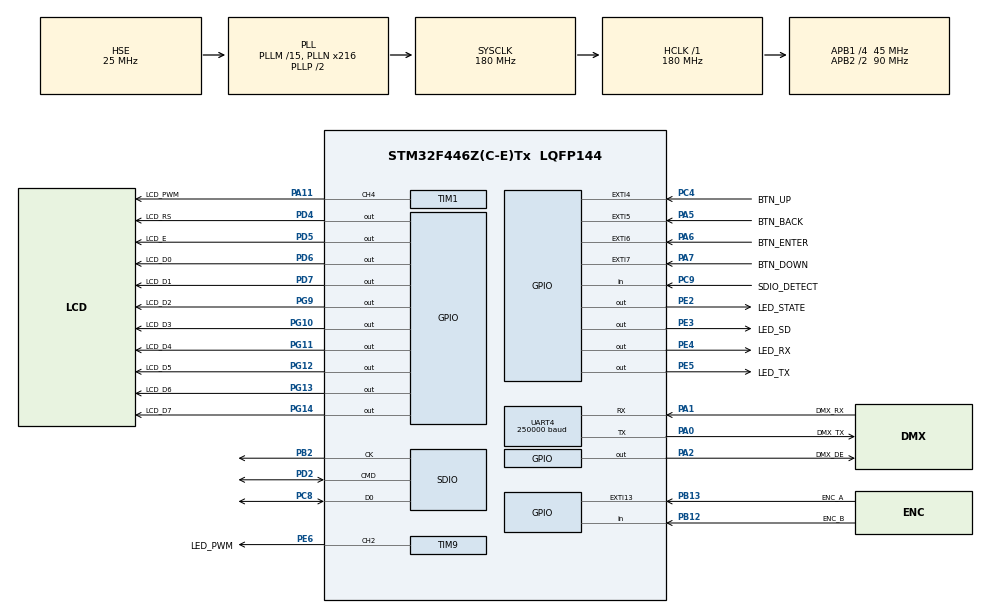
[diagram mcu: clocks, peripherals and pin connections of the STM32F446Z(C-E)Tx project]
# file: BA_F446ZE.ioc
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Dma.Request0=SDIO_RX
Dma.Request1=SDIO_TX
Dma.SDIO_RX.0.Direction=DMA_PERIPH_TO_MEMORY
Dma.SDIO_RX.0.FIFOMode=DMA_FIFOMODE_ENABLE
Dma.SDIO_RX.0.FIFOThreshold=DMA_FIFO_THRESHOLD_FULL
Dma.SDIO_RX.0.Instance=DMA2_Stream3
Dma.SDIO_RX.0.MemBurst=DMA_MBURST_INC4
Dma.SDIO_RX.0.MemDataAlignment=DMA_MDATAALIGN_WORD
Dma.SDIO_RX.0.MemInc=DMA_MINC_ENABLE
Dma.SDIO_RX.0.Mode=DMA_PFCTRL
Dma.SDIO_RX.0.PeriphBurst=DMA_PBURST_INC4
Dma.SDIO_RX.0.PeriphDataAlignment=DMA_PDATAALIGN_WORD
Dma.SDIO_RX.0.PeriphInc=DMA_PINC_DISABLE
Dma.SDIO_RX.0.Priority=DMA_PRIORITY_LOW
Dma.SDIO_TX.1.Direction=DMA_MEMORY_TO_PERIPH
Dma.SDIO_TX.1.FIFOMode=DMA_FIFOMODE_ENABLE
Dma.SDIO_TX.1.FIFOThreshold=DMA_FIFO_THRESHOLD_FULL
Dma.SDIO_TX.1.Instance=DMA2_Stream6
Dma.SDIO_TX.1.MemBurst=DMA_MBURST_INC4
Dma.SDIO_TX.1.MemDataAlignment=DMA_MDATAALIGN_WORD
Dma.SDIO_TX.1.MemInc=DMA_MINC_ENABLE
Dma.SDIO_TX.1.Mode=DMA_PFCTRL
Dma.SDIO_TX.1.PeriphBurst=DMA_PBURST_INC4
Dma.SDIO_TX.1.PeriphDataAlignment=DMA_PDATAALIGN_WORD
Dma.SDIO_TX.1.PeriphInc=DMA_PINC_DISABLE
Dma.SDIO_TX.1.Priority=DMA_PRIORITY_LOW
FATFS.BSP.number=1
FATFS._FS_LOCK=5
FATFS._MAX_SS=4096
FATFS._USE_FIND=1
FATFS._USE_LFN=0
FATFS0.BSP.STBoard=false
FATFS0.BSP.api=Unknown
FATFS0.BSP.i2caddr=0
FATFS0.BSP.instance=PC9
FATFS0.BSP.ip=GPIO
FATFS0.BSP.mode=Input
FATFS0.BSP.name=Detect_SDIO
FATFS0.BSP.solution=PC9
Mcu.Family=STM32F4
Mcu.Name=STM32F446Z(C-E)Tx
Mcu.Package=LQFP144
NVIC.DMA2_Stream3_IRQn=true\:0\:0\:false\:false\:true\:false\:true
NVIC.DMA2_Stream6_IRQn=true\:0\:0\:false\:false\:true\:false\:true
NVIC.EXTI15_10_IRQn=true\:0\:0\:false\:false\:true\:true\:true
NVIC.EXTI4_IRQn=true\:0\:0\:false\:false\:true\:true\:true
NVIC.EXTI9_5_IRQn=true\:0\:0\:false\:false\:true\:true\:true
NVIC.PriorityGroup=NVIC_PRIORITYGROUP_4
NVIC.SDIO_IRQn=true\:0\:0\:false\:false\:true\:true\:true
NVIC.TIM1_TRG_COM_TIM11_IRQn=true\:0\:0\:false\:false\:true\:true\:true
NVIC.TIM8_TRG_COM_TIM14_IRQn=true\:0\:0\:false\:false\:true\:true\:true
NVIC.TIM8_UP_TIM13_IRQn=true\:0\:0\:false\:false\:true\:true\:true
NVIC.UART4_IRQn=true\:0\:0\:false\:false\:true\:true\:true
PA0-WKUP.GPIO_Label=DMX_TX
PA0-WKUP.Mode=Asynchronous
PA0-WKUP.Signal=UART4_TX
PA1.GPIO_Label=DMX_RX
PA1.Mode=Asynchronous
PA1.Signal=UART4_RX
PA11.GPIO_Label=LCD_PWM
PA11.Signal=S_TIM1_CH4
PA13.Mode=Serial_Wire
PA13.Signal=SYS_JTMS-SWDIO
PA14.Mode=Serial_Wire
PA14.Signal=SYS_JTCK-SWCLK
PA2.GPIO_Label=DMX_DE
PA2.Signal=GPIO_Output
PA5.GPIO_Label=BTN_BACK
PA5.GPIO_ModeDefaultEXTI=GPIO_MODE_IT_FALLING
PA5.GPIO_PuPd=GPIO_PULLUP
PA5.Signal=GPXTI5
PA6.GPIO_Label=BTN_ENTER
PA6.GPIO_ModeDefaultEXTI=GPIO_MODE_IT_FALLING
PA6.GPIO_PuPd=GPIO_PULLUP
PA6.Signal=GPXTI6
PA7.GPIO_Label=BTN_DOWN
PA7.GPIO_ModeDefaultEXTI=GPIO_MODE_IT_FALLING
PA7.GPIO_PuPd=GPIO_PULLUP
PA7.Signal=GPXTI7
PB12.GPIO_Label=ENC_B
PB12.Signal=GPIO_Input
PB13.GPIO_Label=ENC_A
PB13.GPIO_ModeDefaultEXTI=GPIO_MODE_IT_FALLING
PB13.Signal=GPXTI13
PB2.Mode=SD_1_bit
PB2.Signal=SDIO_CK
PC4.GPIO_Label=BTN_UP
PC4.GPIO_ModeDefaultEXTI=GPIO_MODE_IT_FALLING
PC4.GPIO_PuPd=GPIO_PULLUP
PC4.Signal=GPXTI4
PC8.GPIO_PuPd=GPIO_PULLUP
PC8.Mode=SD_1_bit
PC8.Signal=SDIO_D0
PC9.GPIO_Label=SDIO_DETECT
PC9.GPIO_PuPd=GPIO_PULLUP
PC9.Signal=GPIO_Input
PD2.GPIO_PuPd=GPIO_PULLUP
PD2.Mode=SD_1_bit
PD2.Signal=SDIO_CMD
PD4.GPIO_Label=LCD_RS
PD4.Signal=GPIO_Output
PD5.GPIO_Label=LCD_E
PD5.Signal=GPIO_Output
PD6.GPIO_Label=LCD_D0
PD6.Signal=GPIO_Output
PD7.GPIO_Label=LCD_D1
PD7.Signal=GPIO_Output
PE2.GPIO_Label=LED_STATE
PE2.Signal=GPIO_Output
PE3.GPIO_Label=LED_SD
PE3.Signal=GPIO_Output
PE4.GPIO_Label=LED_RX
PE4.Signal=GPIO_Output
PE5.GPIO_Label=LED_TX
PE5.Signal=GPIO_Output
PE6.GPIO_Label=LED_PWM
PE6.Signal=S_TIM9_CH2
PG10.GPIO_Label=LCD_D3
PG10.Signal=GPIO_Output
PG11.GPIO_Label=LCD_D4
PG11.Signal=GPIO_Output
PG12.GPIO_Label=LCD_D5
PG12.Signal=GPIO_Output
PG13.GPIO_Label=LCD_D6
PG13.Signal=GPIO_Output
PG14.GPIO_Label=LCD_D7
PG14.Signal=GPIO_Output
PG9.GPIO_Label=LCD_D2
PG9.Signal=GPIO_Output
PH0-OSC_IN.Mode=HSE-External-Oscillator
PH0-OSC_IN.Signal=RCC_OSC_IN
PH1-OSC_OUT.Mode=HSE-External-Oscillator
PH1-OSC_OUT.Signal=RCC_OSC_OUT
ProjectManager.HeapSize=0x200
ProjectManager.StackSize=0x400
ProjectManager.TargetToolchain=STM32CubeIDE
RCC.AHBFreq_Value=180000000
RCC.APB1CLKDivider=RCC_HCLK_DIV4
RCC.APB1Freq_Value=45000000
RCC.APB1TimFreq_Value=90000000
RCC.APB2CLKDivider=RCC_HCLK_DIV2
RCC.APB2Freq_Value=90000000
RCC.APB2TimFreq_Value=180000000
RCC.CortexFreq_Value=180000000
RCC.HCLKFreq_Value=180000000
RCC.HSE_VALUE=25000000
RCC.PLLM=15
RCC.PLLN=216
RCC.PLLQ=8
RCC.PLLSourceVirtual=RCC_PLLSOURCE_HSE
RCC.SYSCLKFreq_VALUE=180000000
RCC.SYSCLKSource=RCC_SYSCLKSOURCE_PLLCLK
RCC.USBFreq_Value=45000000
RCC.VCOOutputFreq_Value=360000000
SDIO.ClockDiv=4
SDIO.ClockEdge=SDIO_CLOCK_EDGE_RISING
SH.S_TIM1_CH4.0=TIM1_CH4,PWM Generation4 CH4
SH.S_TIM9_CH2.0=TIM9_CH2,PWM Generation2 CH2
TIM1.AutoReloadPreload=TIM_AUTORELOAD_PRELOAD_ENABLE
TIM1.Channel-PWM\ Generation4\ CH4=TIM_CHANNEL_4
TIM1.Period=100
TIM1.Prescaler=180
TIM11.AutoReloadPreload=TIM_AUTORELOAD_PRELOAD_DISABLE
TIM11.ClockDivision=TIM_CLOCKDIVISION_DIV1
TIM11.Period=10-1
TIM11.Prescaler=180-1
TIM13.AutoReloadPreload=TIM_AUTORELOAD_PRELOAD_ENABLE
TIM13.ClockDivision=TIM_CLOCKDIVISION_DIV1
TIM13.Period=100-1
TIM13.Prescaler=9000-1
TIM14.AutoReloadPreload=TIM_AUTORELOAD_PRELOAD_ENABLE
TIM14.Period=10-1
TIM14.Prescaler=180-1
TIM9.AutoReloadPreload=TIM_AUTORELOAD_PRELOAD_ENABLE
TIM9.Channel-PWM\ Generation2\ CH2=TIM_CHANNEL_2
TIM9.ClockDivision=TIM_CLOCKDIVISION_DIV1
TIM9.OC2Preload_PWM=DISABLE
TIM9.Period=80
TIM9.Prescaler=180
TIM9.Pulse-PWM\ Generation2\ CH2=65535
UART4.BaudRate=250000
UART4.StopBits=UART_STOPBITS_2
UART4.VirtualMode=Asynchronous
VP_FATFS_VS_SDIO.Mode=SDIO
VP_TIM11_VS_ClockSourceINT.Mode=Enable_Timer
VP_TIM11_VS_OPM.Mode=OPM_bit
VP_TIM13_VS_ClockSourceINT.Mode=Enable_Timer
VP_TIM14_VS_ClockSourceINT.Mode=Enable_Timer
VP_TIM14_VS_OPM.Mode=OPM_bit
board=custom

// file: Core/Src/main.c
/* USER CODE BEGIN Header */
/**
  ******************************************************************************
  * @file           : main.c
  * @brief          : Main program body
  ******************************************************************************
  * @attention
  *
  * <h2><center>&copy; Copyright (c) 2020 STMicroelectronics.
  * All rights reserved.</center></h2>
  *
  * This software component is licensed by ST under BSD 3-Clause license,
  * the "License"; You may not use this file except in compliance with the
  * License. You may obtain a copy of the License at:
  *                        opensource.org/licenses/BSD-3-Clause
  *
  ******************************************************************************
  */
/**
 *
 * TIM7 	-- milliseconds
 * TIM13	-- seconds
 * TIM11	-- 10us
*/
/* USER CODE END Header */
#include "main.h"
#include "dma.h"
#include "fatfs.h"
#include "sdio.h"
#include "tim.h"
#include "usart.h"
#include "gpio.h"

/* USER CODE BEGIN Includes */

#include "DMX.h"
#include "Component_test.h"
#include "lcd.h"
#include "Encoder.h"
#include "button.h"
#include "settings.h"
#include "menu.h"

/* USER CODE END Includes */

/* USER CODE BEGIN PV */
//LCD
Lcd_HandleTypeDef lcd;

Lcd_PinType pins[8] = {
		  LCD_D0_Pin,
		  LCD_D1_Pin,
		  LCD_D2_Pin,
		  LCD_D3_Pin,
		  LCD_D4_Pin,
		  LCD_D5_Pin,
		  LCD_D6_Pin,
		  LCD_D7_Pin
};

Lcd_PortType ports[8] = {
		  LCD_D0_GPIO_Port,
		  LCD_D1_GPIO_Port,
		  LCD_D2_GPIO_Port,
		  LCD_D3_GPIO_Port,
		  LCD_D4_GPIO_Port,
		  LCD_D5_GPIO_Port,
		  LCD_D6_GPIO_Port,
		  LCD_D7_GPIO_Port
};

/* USER CODE END PV */

void SystemClock_Config(void);
/* USER CODE BEGIN PFP */

void HAL_TIM_PeriodElapsedCallback(TIM_HandleTypeDef *htim);
void notify(uint8_t cycles, uint16_t delay);

void LED_init();
void SD_init();
void LCD_init();

/* USER CODE END PFP */

int main(void)
{

  /* MCU Configuration--------------------------------------------------------*/

  /* Reset of all peripherals, Initializes the Flash interface and the Systick. */
  HAL_Init();

  /* Configure the system clock */
  SystemClock_Config();

  /* Initialize all configured peripherals */
  MX_GPIO_Init();
  MX_DMA_Init();
  MX_SDIO_SD_Init();
  MX_FATFS_Init();
  MX_TIM1_Init();
  MX_TIM9_Init();
  MX_TIM14_Init();
  MX_TIM11_Init();
  MX_TIM13_Init();
  MX_UART4_Init();
  /* USER CODE BEGIN 2 */

  LCD_init();
  LED_init();
  SD_init();
  DMX_Init(&Univers, &huart4);
  read_settings();

  notify(10, 100);

  /* USER CODE END 2 */

  /* Infinite loop */
  /* USER CODE BEGIN WHILE */
  while (1)
  {
	  main_menu(&lcd);
    /* USER CODE END WHILE */

  }
}

void SystemClock_Config(void)
{
  RCC_OscInitTypeDef RCC_OscInitStruct = {0};
  RCC_ClkInitTypeDef RCC_ClkInitStruct = {0};
  RCC_PeriphCLKInitTypeDef PeriphClkInitStruct = {0};

  /** Configure the main internal regulator output voltage
  */
  __HAL_RCC_PWR_CLK_ENABLE();
  __HAL_PWR_VOLTAGESCALING_CONFIG(PWR_REGULATOR_VOLTAGE_SCALE1);
  /** Initializes the RCC Oscillators according to the specified parameters
  * in the RCC_OscInitTypeDef structure.
  */
  RCC_OscInitStruct.OscillatorType = RCC_OSCILLATORTYPE_HSE;
  RCC_OscInitStruct.HSEState = RCC_HSE_ON;
  RCC_OscInitStruct.PLL.PLLState = RCC_PLL_ON;
  RCC_OscInitStruct.PLL.PLLSource = RCC_PLLSOURCE_HSE;
  RCC_OscInitStruct.PLL.PLLM = 15;
  RCC_OscInitStruct.PLL.PLLN = 216;
  RCC_OscInitStruct.PLL.PLLP = RCC_PLLP_DIV2;
  RCC_OscInitStruct.PLL.PLLQ = 8;
  RCC_OscInitStruct.PLL.PLLR = 2;
  if (HAL_RCC_OscConfig(&RCC_OscInitStruct) != HAL_OK)
  {
    Error_Handler();
  }
  /** Activate the Over-Drive mode
  */
  if (HAL_PWREx_EnableOverDrive() != HAL_OK)
  {
    Error_Handler();
  }
  /** Initializes the CPU, AHB and APB buses clocks
  */
  RCC_ClkInitStruct.ClockType = RCC_CLOCKTYPE_HCLK|RCC_CLOCKTYPE_SYSCLK
                              |RCC_CLOCKTYPE_PCLK1|RCC_CLOCKTYPE_PCLK2;
  RCC_ClkInitStruct.SYSCLKSource = RCC_SYSCLKSOURCE_PLLCLK;
  RCC_ClkInitStruct.AHBCLKDivider = RCC_SYSCLK_DIV1;
  RCC_ClkInitStruct.APB1CLKDivider = RCC_HCLK_DIV4;
  RCC_ClkInitStruct.APB2CLKDivider = RCC_HCLK_DIV2;

  if (HAL_RCC_ClockConfig(&RCC_ClkInitStruct, FLASH_LATENCY_5) != HAL_OK)
  {
    Error_Handler();
  }
  PeriphClkInitStruct.PeriphClockSelection = RCC_PERIPHCLK_SDIO|RCC_PERIPHCLK_CLK48;
  PeriphClkInitStruct.Clk48ClockSelection = RCC_CLK48CLKSOURCE_PLLQ;
  PeriphClkInitStruct.SdioClockSelection = RCC_SDIOCLKSOURCE_CLK48;
  if (HAL_RCCEx_PeriphCLKConfig(&PeriphClkInitStruct) != HAL_OK)
  {
    Error_Handler();
  }
}

/* USER CODE BEGIN 4 */

/**
	*@brief		Benutzerr�ckmeldung �ber die integrierte LED (blinken)
	*@param		cycles: Anzahl der LED Zustandswechsel
	*@param 	delay: Pause zwischen den Zustandwechseln
	*@retval	none
	*/
void notify(uint8_t cycles, uint16_t delay)
{
	HAL_GPIO_WritePin(LED_STATE_GPIO_Port, LED_STATE_Pin, GPIO_PIN_RESET);
	for(int i = 0; i < cycles; i++)
	{
		HAL_GPIO_TogglePin(LED_STATE_GPIO_Port, LED_STATE_Pin);
		HAL_Delay(delay);
	}
}

/**
	*@brief 	Interruptfuntion f�r alle Timer. Wird aufgerufen wenn der Timer �berl�uft
	*@param 	htim: Timer handle
	*@retval 	none
	*/
void HAL_TIM_PeriodElapsedCallback(TIM_HandleTypeDef *htim)
{
	if(htim != &htim11)
		CLEAR_BIT(htim->Instance->SR, TIM_SR_UIF); 	//Reset Update Interrupt Flag

	if(htim == &htim13)				//Timer für Aufnahmefunktion - Taktung 1 s
	{
		m_seconds_passed++;
	}
	else if(htim == &htim14)		//Timer für Aufnahmfunktion - Taktung 10ms
	{
//		m_seconds_passed++;
	}
}

void LED_init()
{
	HAL_TIM_PWM_Start(&htim9, TIM_CHANNEL_2);
	htim9.Instance->CCR2 = 65535;				//Maximale LED-Helligkeit
	HAL_GPIO_WritePin(LED_SD_GPIO_Port, LED_SD_Pin, GPIO_PIN_RESET);
	HAL_GPIO_WritePin(LED_STATE_GPIO_Port, LED_STATE_Pin, GPIO_PIN_RESET);
	HAL_GPIO_WritePin(LED_RX_GPIO_Port, LED_RX_Pin, GPIO_PIN_RESET);
	HAL_GPIO_WritePin(LED_TX_GPIO_Port, LED_TX_Pin, GPIO_PIN_RESET);
}

void SD_init()
{
	MX_FATFS_Init();
	HAL_Delay(5);

	Lcd_string_length(&lcd, "SD init...", 10);

	while(f_mount(&Univers.filesystem, Univers.path, 1) != FR_OK)
	{
		DSTATUS sd_state = disk_status(0);
		if(sd_state == STA_NODISK)
			Lcd_string_length(&lcd, "NO SD", 5);
		else if(sd_state == STA_NOINIT)
		{
			f_mount(0, Univers.path, 1);
			memset(&Univers.filesystem, 0, sizeof(FATFS));
			sd_state = SD_initialize(Univers.path);
		}
	}
}

void LCD_init()
{
	HAL_TIM_PWM_Start(&htim1, TIM_CHANNEL_4);
	htim1.Instance->CCR4 = 40;		//Standard Kontrastwert
	lcd = Lcd_create(ports, pins, LCD_RS_GPIO_Port, LCD_RS_Pin, LCD_E_GPIO_Port, LCD_E_Pin, LCD_8_BIT_MODE);
	HAL_Delay(2);
	Lcd_clear(&lcd);
	HAL_Delay(2);
}

/* USER CODE END 4 */

void Error_Handler(void)
{
}

/************************ (C) COPYRIGHT STMicroelectronics *****END OF FILE****/
